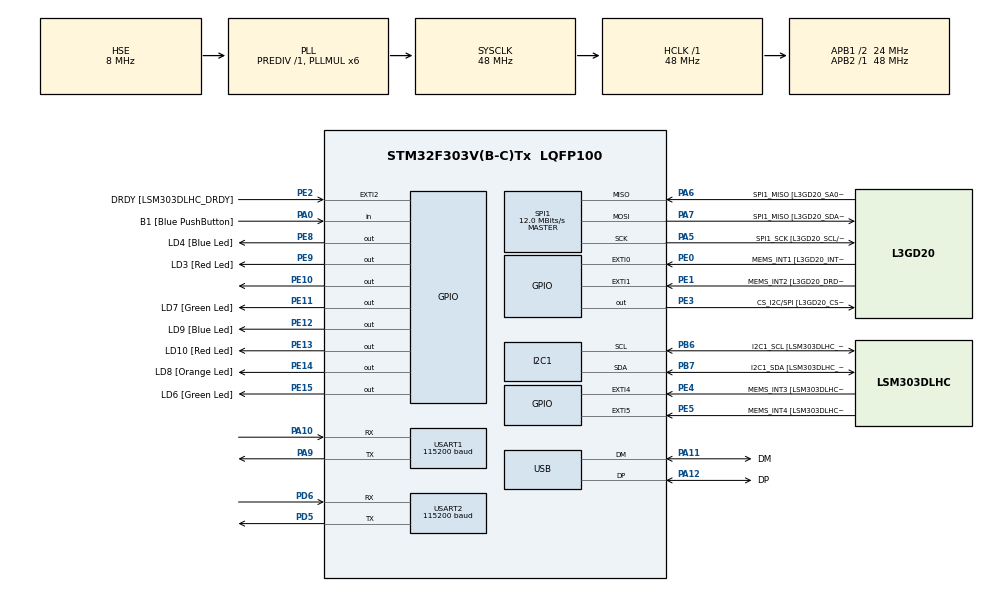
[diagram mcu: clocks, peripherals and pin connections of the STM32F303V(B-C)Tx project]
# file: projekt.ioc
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I2C1.Timing=0x00201D2B
I2C1.Timing-I2C=0x2000090E
Mcu.Family=STM32F3
Mcu.Name=STM32F303V(B-C)Tx
Mcu.Package=LQFP100
NVIC.PriorityGroup=NVIC_PRIORITYGROUP_0
NVIC.TIM2_IRQn=true\:0\:0\:false\:false\:true\:true\:true\:true
PA0.GPIO_Label=B1 [Blue PushButton]
PA0.Signal=GPIO_Input
PA10.Mode=Asynchronous
PA10.Signal=USART1_RX
PA11.GPIO_Label=DM
PA11.Mode=Device
PA11.Signal=USB_DM
PA12.GPIO_Label=DP
PA12.Mode=Device
PA12.Signal=USB_DP
PA13.GPIO_Label=SWDIO
PA13.Mode=Serial_Wire
PA13.Signal=SYS_JTMS-SWDIO
PA14.GPIO_Label=SWCLK
PA14.Mode=Serial_Wire
PA14.Signal=SYS_JTCK-SWCLK
PA5.GPIO_Label=SPI1_SCK [L3GD20_SCL/SPC]
PA5.Mode=Full_Duplex_Master
PA5.Signal=SPI1_SCK
PA6.GPIO_Label=SPI1_MISO [L3GD20_SA0/SDO]
PA6.Mode=Full_Duplex_Master
PA6.Signal=SPI1_MISO
PA7.GPIO_Label=SPI1_MISO [L3GD20_SDA/SDI/SDO]
PA7.Mode=Full_Duplex_Master
PA7.Signal=SPI1_MOSI
PA9.Mode=Asynchronous
PA9.Signal=USART1_TX
PB3.GPIO_Label=SWO
PB3.Signal=SYS_JTDO-TRACESWO
PB6.GPIO_Label=I2C1_SCL [LSM303DLHC_SCL]
PB6.GPIO_Pu=GPIO_PULLUP
PB6.Mode=I2C
PB6.Signal=I2C1_SCL
PB7.GPIO_Label=I2C1_SDA [LSM303DLHC_SDA]
PB7.GPIO_Pu=GPIO_PULLUP
PB7.Mode=I2C
PB7.Signal=I2C1_SDA
PC14-OSC32_IN.GPIO_Label=OSC32_IN
PC14-OSC32_IN.Signal=RCC_OSC32_IN
PC15-OSC32_OUT.GPIO_Label=OSC32_OUT
PC15-OSC32_OUT.Signal=RCC_OSC32_OUT
PD5.Mode=Asynchronous
PD5.Signal=USART2_TX
PD6.Mode=Asynchronous
PD6.Signal=USART2_RX
PE0.GPIO_Label=MEMS_INT1 [L3GD20_INT1]
PE0.GPIO_ModeDefaultEXTI=GPIO_MODE_EVT_RISING
PE0.Signal=GPXTI0
PE1.GPIO_Label=MEMS_INT2 [L3GD20_DRDY/INT2]
PE1.GPIO_ModeDefaultEXTI=GPIO_MODE_EVT_RISING
PE1.Signal=GPXTI1
PE10.Signal=GPIO_Output
PE11.GPIO_Label=LD7 [Green Led]
PE11.Signal=GPIO_Output
PE12.GPIO_Label=LD9 [Blue Led]
PE12.Signal=GPIO_Output
PE13.GPIO_Label=LD10 [Red Led]
PE13.Signal=GPIO_Output
PE14.GPIO_Label=LD8 [Orange Led]
PE14.Signal=GPIO_Output
PE15.GPIO_Label=LD6 [Green Led]
PE15.Signal=GPIO_Output
PE2.GPIO_Label=DRDY [LSM303DLHC_DRDY]
PE2.GPIO_ModeDefaultEXTI=GPIO_MODE_EVT_RISING
PE2.Signal=GPXTI2
PE3.GPIO_Label=CS_I2C/SPI [L3GD20_CS_I2C/SPI]
PE3.Signal=GPIO_Output
PE4.GPIO_Label=MEMS_INT3 [LSM303DLHC_INT1]
PE4.GPIO_ModeDefaultEXTI=GPIO_MODE_EVT_RISING
PE4.Signal=GPXTI4
PE5.GPIO_Label=MEMS_INT4 [LSM303DLHC_INT2]
PE5.GPIO_ModeDefaultEXTI=GPIO_MODE_EVT_RISING
PE5.Signal=GPXTI5
PE8.GPIO_Label=LD4 [Blue Led]
PE8.Signal=GPIO_Output
PE9.GPIO_Label=LD3 [Red Led]
PE9.Signal=GPIO_Output
PF0-OSC_IN.GPIO_Label=OSC_IN
PF0-OSC_IN.Mode=HSE-External-Clock-Source
PF0-OSC_IN.Signal=RCC_OSC_IN
PF1-OSC_OUT.GPIO_Label=OSC_OUT
PF1-OSC_OUT.Signal=RCC_OSC_OUT
ProjectManager.HeapSize=0x200
ProjectManager.StackSize=0x400
ProjectManager.TargetToolchain=STM32CubeIDE
RCC.AHBFreq_Value=48000000
RCC.APB1CLKDivider=RCC_HCLK_DIV2
RCC.APB1Freq_Value=24000000
RCC.APB1TimFreq_Value=48000000
RCC.APB2Freq_Value=48000000
RCC.APB2TimFreq_Value=48000000
RCC.CortexFreq_Value=48000000
RCC.HCLKFreq_Value=48000000
RCC.HSE_VALUE=8000000
RCC.HSI_VALUE=8000000
RCC.LSE_VALUE=32768
RCC.PLLMUL=RCC_PLL_MUL6
RCC.SYSCLKFreq_VALUE=48000000
RCC.SYSCLKSourceVirtual=RCC_SYSCLKSOURCE_PLLCLK
RCC.USBFreq_Value=48000000
SPI1.BaudRatePrescaler=SPI_BAUDRATEPRESCALER_4
SPI1.BaudRatePrescaler-Full_Duplex_Master=SPI_BAUDRATEPRESCALER_2
SPI1.CalculateBaudRate=12.0 MBits/s
SPI1.CalculateBaudRate-Full_Duplex_Master=24.0 MBits/s
SPI1.Direction=SPI_DIRECTION_2LINES
SPI1.Mode=SPI_MODE_MASTER
SPI1.Mode-Full_Duplex_Master=SPI_MODE_MASTER
SPI1.VirtualType=VM_MASTER
TIM2.AutoReloadPreload=TIM_AUTORELOAD_PRELOAD_ENABLE
TIM2.Period=9
TIM2.Prescaler=47999
USART1.BaudRate=115200
USART1.VirtualMode-Asynchronous=VM_ASYNC
USART2.BaudRate=115200
USART2.VirtualMode-Asynchronous=VM_ASYNC
VP_TIM2_VS_ClockSourceINT.Mode=Internal
board=STM32F3DISCOVERY

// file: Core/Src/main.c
/* USER CODE BEGIN Header */
/**
  ******************************************************************************
  * @file           : main.c
  * @brief          : Main program body with MQTT support
  ******************************************************************************
  */
/* USER CODE END Header */
#include "main.h"

/* USER CODE BEGIN PD */
#define ESP_UART huart1
#define ENABLE_USER_LOG 1
#define DISABLE_USER_LOG 0
#define ESP_RX_BUFFER_SIZE 512
#define MQTT_PACKET_SIZE 256

#if ENABLE_USER_LOG
#define USER_LOG(fmt, ...) printf("[USER] " fmt "\r\n", ##__VA_ARGS__)
#else
#define USER_LOG(fmt, ...)
#endif

#define LSM303DLHC_ACC_ADDR     (0x19 << 1)
#define LSM303_CTRL_REG1_A      0x20
#define LSM303_CTRL_REG4_A      0x23
#define LSM303_OUT_X_L_A        0x28
/* USER CODE END PD */

/* USER CODE BEGIN PM */
#if ENABLE_USER_LOG
#define DEBUG_LOG(fmt, ...) printf(fmt "\r\n", ##__VA_ARGS__)
#else
#define DEBUG_LOG(fmt, ...)
#endif

/* USER CODE END PM */

I2C_HandleTypeDef hi2c1;

SPI_HandleTypeDef hspi1;

TIM_HandleTypeDef htim2;

UART_HandleTypeDef huart1;
UART_HandleTypeDef huart2;

PCD_HandleTypeDef hpcd_USB_FS;

/* USER CODE BEGIN PV */
char esp_rx_buffer[ESP_RX_BUFFER_SIZE];
uint8_t mqtt_packet[MQTT_PACKET_SIZE];

volatile uint32_t step_count = 0;
float filtered_accel = 0;
float prev_filtered_accel = 0;
uint8_t step_detected = 0;
uint32_t last_step_time = 0;
/* USER CODE END PV */

void SystemClock_Config(void);
static void MX_GPIO_Init(void);
static void MX_I2C1_Init(void);
static void MX_SPI1_Init(void);
static void MX_USB_PCD_Init(void);
static void MX_USART1_UART_Init(void);
static void MX_USART2_UART_Init(void);
static void MX_TIM2_Init(void);

/* USER CODE BEGIN 0 */
static int ESP_SendCommand(const char* command, const char* ack, uint32_t timeout)
{
    uint8_t ch = 0;
    uint16_t idx = 0;
    uint32_t tickstart;
    int found = 0;

    memset(esp_rx_buffer, 0, sizeof(esp_rx_buffer));
    tickstart = HAL_GetTick();

    if (strlen(command) > 0)
    {
        DEBUG_LOG("Sending: %s", command);
        if (HAL_UART_Transmit(&huart1, (uint8_t*)command, strlen(command), HAL_MAX_DELAY) != HAL_OK)
        {
            DEBUG_LOG("Transmission failed");
            return 0;
        }
    }

    while((HAL_GetTick() - tickstart) < timeout && idx < sizeof(esp_rx_buffer) - 1)
    {
        if(HAL_UART_Receive(&huart1, &ch, 1, 10) == HAL_OK)
        {
            esp_rx_buffer[idx++] = ch;
            esp_rx_buffer[idx] = '\0';

            // Check for acknowledgment
            if (!found && strstr(esp_rx_buffer, ack))
            {
                DEBUG_LOG("Matched ACK: %s", ack);
                found = 1;
            }

            // Handle busy response
            if(strstr(esp_rx_buffer, "busy"))
            {
                DEBUG_LOG("ESP is busy, waiting...");
                HAL_Delay(1500);
                idx = 0;
                memset(esp_rx_buffer, 0, sizeof(esp_rx_buffer));
                tickstart = HAL_GetTick(); // Reset timeout
                continue;
            }
        }
    }

    if (found)
    {
        DEBUG_LOG("Response: %s", esp_rx_buffer);
    }
    else
    {
        DEBUG_LOG("Timeout or ACK not received");
    }

    return found;
}

static int ESP_SendBinary(const uint8_t* data, uint16_t len, const char* ack, uint32_t timeout)
{
    uint8_t ch = 0;
    uint16_t idx = 0;
    uint32_t tickstart;
    int found = 0;

    memset(esp_rx_buffer, 0, sizeof(esp_rx_buffer));
    tickstart = HAL_GetTick();

    // Send binary data
    if (HAL_UART_Transmit(&huart1, (uint8_t*)data, len, HAL_MAX_DELAY) != HAL_OK)
    {
        DEBUG_LOG("Binary transmission failed");
        return 0;
    }

    // Wait for acknowledgment
    while((HAL_GetTick() - tickstart) < timeout && idx < sizeof(esp_rx_buffer) - 1)
    {
        if(HAL_UART_Receive(&huart1, &ch, 1, 10) == HAL_OK)
        {
            esp_rx_buffer[idx++] = ch;
            esp_rx_buffer[idx] = '\0';

            // Check for binary acknowledgment (CONNACK starts with 0x20)
            if (!found && (strchr(esp_rx_buffer, ack[0]) != NULL))
            {
                DEBUG_LOG("Binary ACK received");
                found = 1;
            }

            if(strstr(esp_rx_buffer, "SEND OK"))
            {
                DEBUG_LOG("SEND OK received");
                if (found) break;
            }
        }
    }

    return found;
}

static int MQTT_BuildConnect(uint8_t *packet, const char *clientID, const char *username, const char *password, uint16_t keepalive)
{
    int len = 0;
    /* Fixed Header */
    packet[len++] = 0x10;   // CONNECT packet type
    int remLenPos = len++;  // Remaining length placeholder

    /* Variable Header */
    packet[len++] = 0x00; packet[len++] = 0x04;
    packet[len++] = 'M'; packet[len++] = 'Q'; packet[len++] = 'T'; packet[len++] = 'T';
    packet[len++] = 0x04;   // Protocol Level = 4 (MQTT 3.1.1)

    uint8_t connectFlags = 0x02; // Clean Session
    if (username) connectFlags |= 0x80;
    if (password) connectFlags |= 0x40;
    packet[len++] = connectFlags;

    // Keep Alive
    packet[len++] = (keepalive >> 8) & 0xFF;
    packet[len++] = (keepalive & 0xFF);

    /* Payload */
    // Client ID
    uint16_t cid_len = strlen(clientID);
    packet[len++] = cid_len >> 8;
    packet[len++] = cid_len & 0xFF;
    memcpy(&packet[len], clientID, cid_len); len += cid_len;

    // Username
    if (username) {
        uint16_t ulen = strlen(username);
        packet[len++] = ulen >> 8;
        packet[len++] = ulen & 0xFF;
        memcpy(&packet[len], username, ulen); len += ulen;
    }

    // Password
    if (password) {
        uint16_t plen = strlen(password);
        packet[len++] = plen >> 8;
        packet[len++] = plen & 0xFF;
        memcpy(&packet[len], password, plen); len += plen;
    }

    // Remaining length from Fixed Header
    packet[remLenPos] = len - 2;  // remove first 2 bytes of Fixed Header
    return len;
}

static int ESP_MQTT_Connect(const char *broker, uint16_t port, const char *clientID,
                                       const char *username, const char *password, uint16_t keepalive)
{
    char cmd[128];
    int res;
    int len;

    /****** Step 1: TCP connect ******/
    snprintf(cmd, sizeof(cmd), "AT+CIPSTART=\"TCP\",\"%s\",%d\r\n", broker, port);
    res = ESP_SendCommand(cmd, "CONNECT", 5000);
    if (!res){
        DEBUG_LOG("CIPSTART Failed..");
        return 0;
    }

    HAL_Delay(500);

    /****** Step 2: Build MQTT CONNECT packet ******/
    len = MQTT_BuildConnect(mqtt_packet, clientID, username, password, keepalive);

    /****** Step 3: Tell ESP how many bytes to send ******/
    snprintf(cmd, sizeof(cmd), "AT+CIPSEND=%d\r\n", len);
    res = ESP_SendCommand(cmd, ">", 2000);
    if (!res){
        DEBUG_LOG("CIPSEND Failed..");
        return 0;
    }

    /****** Step 4: Send packet and wait for CONNACK ******/
    res = ESP_SendBinary(mqtt_packet, len, "\x20", 5000);
    if (!res){
        DEBUG_LOG("Send Connect Command Failed..");
        USER_LOG("MQTT CONNACK failed.");
        return 0;
    }

    USER_LOG("MQTT CONNACK received, broker accepted connection.");
    return 1;
}

static int MQTT_BuildPublish(uint8_t *packet, const char *topic, const char *message, uint8_t qos)
{
    int len = 0;

    /* Fixed Header */
    packet[len++] = 0x30 | (qos << 1); // PUBLISH, QoS
    int remLenPos = len++;  // will be calculated later

    /* Variable Header */
    // Topic
    uint16_t tlen = strlen(topic);
    packet[len++] = tlen >> 8;  // store topic len
    packet[len++] = tlen & 0xFF;  // store topic len
    memcpy(&packet[len], topic, tlen); len += tlen;  // store topic

    /* Payload */
    // Message
    uint16_t mlen = strlen(message);
    memcpy(&packet[len], message, mlen); len += mlen;  // store message

    // Remaining length
    packet[remLenPos] = len - 2;  // remove first 2 bytes of Fixed Header
    return len;
}

static int ESP_MQTT_Publish(const char *topic, const char *message, uint8_t qos)
{
    char cmd[128];
    int res;
    int len;

    /****** Step 1: Build MQTT PUBLISH packet ******/
    len = MQTT_BuildPublish(mqtt_packet, topic, message, qos);

    /****** Step 2: Tell ESP how many bytes to send  ******/
    snprintf(cmd, sizeof(cmd), "AT+CIPSEND=%d\r\n", len);
    res = ESP_SendCommand(cmd, ">", 2000);
    if (!res){
        DEBUG_LOG("CIPSEND Failed..");
        return 0;
    }

    /****** Step 3: Send packet and wait for ACK ******/
    res = ESP_SendBinary(mqtt_packet, len, "SEND OK", 5000);
    if (!res){
        DEBUG_LOG("Publish Command Failed..");
        return 0;
    }

    USER_LOG("Message published successfully to topic: %s", topic);
    return 1;
}

int HTTP_ConfigureUrl(const char *url) {
    char at_cmd[64];
    uint16_t url_len = strlen(url);
    int res;

    // Step 1: Send the length and wait for the '>' prompt
    snprintf(at_cmd, sizeof(at_cmd), "AT+HTTPURLCFG=%d\r\n", url_len);
    res = ESP_SendCommand(at_cmd, ">", 2000);
    if (!res) {
        DEBUG_LOG("URL length config Failed (no prompt)");
        return 0;
    }

    // Step 2: Send the actual URL data (no \r\n at the end of the raw data)
    if (HAL_UART_Transmit(&huart1, (uint8_t*)url, url_len, HAL_MAX_DELAY) != HAL_OK) {
        DEBUG_LOG("URL transmit Failed");
        return 0;
    }

    // Step 3: Wait for "OK" (Note: some firmware versions return "SET OK", some just "OK")
    res = ESP_SendCommand("", "OK", 3000);
    if (!res) {
        DEBUG_LOG("URL data confirmation Failed");
        return 0;
    }

    USER_LOG("URL Configured Successfully!");
    return 1;
}

static int ESP_MQTT_Connect_TLS(const char *broker, uint16_t port,
                                 const char *clientID,
                                 const char *username,
                                 const char *password)
{
    char cmd[256];
    int res;

    USER_LOG("=== Starting MQTT TLS Connection ===");

    // ONLY STEP 1: Configure everything in one command
    USER_LOG("Configuring MQTT...");
    snprintf(cmd, sizeof(cmd),
             "AT+MQTTUSERCFG=0,2,\"%s\",\"%s\",\"%s\",0,0,\"\"\r\n",
             clientID, username, password);
    res = ESP_SendCommand(cmd, "OK", 3000);
    if (!res) {
        USER_LOG("MQTTUSERCFG Failed!");
        return 0;
    }
    USER_LOG("Configuration OK");
    HAL_Delay(200);

    USER_LOG("Connecting to broker...");
    snprintf(cmd, sizeof(cmd),
             "AT+MQTTCONN=0,\"%s\",%d,1\r\n",
             broker, port);
    res = ESP_SendCommand(cmd, "OK", 15000);
    if (!res) {
        USER_LOG("MQTTCONN Failed!");
        return 0;
    }
    HAL_GPIO_WritePin(GPIOE, LD6_Pin, GPIO_PIN_SET);

    USER_LOG("MQTT TLS Connected!");
    return 1;
}

static int ESP_MQTT_Publish_AT(const char *topic, const char *message, uint8_t qos) {
	char cmd[256];
	USER_LOG("Publishing to: %s", topic);
	snprintf(cmd, sizeof(cmd), "AT+MQTTPUB=0,\"%s\",\"%s\",%d,0\r\n", topic, message, qos);
	if (!ESP_SendCommand(cmd, "OK", 5000)) {
		USER_LOG("Publish failed!");
		return 0;
	}
	USER_LOG("Published successfully!");
	return 1;
}

static int LSM303_Init(void)
{
    uint8_t data[2];
    HAL_StatusTypeDef status;

    // CTRL_REG1_A: 100Hz data rate, all axes enabled
    data[0] = LSM303_CTRL_REG1_A;
    data[1] = 0x57;  // 100Hz, normal mode, XYZ enabled
    status = HAL_I2C_Master_Transmit(&hi2c1, LSM303DLHC_ACC_ADDR, data, 2, 100);
    if (status != HAL_OK) {
        USER_LOG("LSM303 CTRL_REG1 write failed");
        return 0;
    }

    // CTRL_REG4_A: +/- 2g full scale, high resolution
    data[0] = LSM303_CTRL_REG4_A;
    data[1] = 0x08;  // +/- 2g, high resolution
    status = HAL_I2C_Master_Transmit(&hi2c1, LSM303DLHC_ACC_ADDR, data, 2, 100);
    if (status != HAL_OK) {
        USER_LOG("LSM303 CTRL_REG4 write failed");
        return 0;
    }

    USER_LOG("LSM303 Accelerometer initialized");
    return 1;
}

static int LSM303_ReadAccel(int16_t *x, int16_t *y, int16_t *z)
{
    uint8_t reg = LSM303_OUT_X_L_A | 0x80;  // Auto-increment
    uint8_t buffer[6];

    if (HAL_I2C_Master_Transmit(&hi2c1, LSM303DLHC_ACC_ADDR, &reg, 1, 100) != HAL_OK) {
        return 0;
    }

    if (HAL_I2C_Master_Receive(&hi2c1, LSM303DLHC_ACC_ADDR, buffer, 6, 100) != HAL_OK) {
        return 0;
    }

    // Combine bytes (12-bit left-justified, so shift right by 4)
    *x = (int16_t)((buffer[1] << 8) | buffer[0]) >> 4;
    *y = (int16_t)((buffer[3] << 8) | buffer[2]) >> 4;
    *z = (int16_t)((buffer[5] << 8) | buffer[4]) >> 4;

    return 1;
}

static void StepCounter_Update(void)
{
    int16_t ax, ay, az;
    float magnitude;
    uint32_t current_time;

    if (!LSM303_ReadAccel(&ax, &ay, &az)) {
        // Blink LD4 if read fails
        HAL_GPIO_TogglePin(GPIOE, LD4_Pin);
        return;
    }

    //
    HAL_GPIO_TogglePin(GPIOE, LD7_Pin);
    // Calculate acceleration magnitude
    magnitude = sqrt((float)(ax*ax + ay*ay + az*az));

    // Low-pass filter to smooth the signal
    filtered_accel = 0.8f * filtered_accel + 0.2f * magnitude;

    current_time = HAL_GetTick();

    // Peak detection for step counting
    // Threshold and timing to avoid double-counting
    if (filtered_accel > 1200.0f &&                          // Above threshold
        prev_filtered_accel <= 1200.0f &&                    // Rising edge
        (current_time - last_step_time) > 250)            // Min 250ms between steps
    {
        step_count++;
        last_step_time = current_time;
        USER_LOG("Step detected! Count: %lu", step_count);

        HAL_GPIO_TogglePin(GPIOE, LD3_Pin);
    }

    prev_filtered_accel = filtered_accel;
}

void HAL_TIM_PeriodElapsedCallback(TIM_HandleTypeDef *htim)
{
    if (htim->Instance == TIM2) {
        StepCounter_Update();
    }
}

/* USER CODE END 0 */

int main(void)
{

  /* MCU Configuration--------------------------------------------------------*/

  /* Reset of all peripherals, Initializes the Flash interface and the Systick. */
  HAL_Init();

  /* Configure the system clock */
  SystemClock_Config();

  /* Initialize all configured peripherals */
  MX_GPIO_Init();
  MX_I2C1_Init();
  MX_SPI1_Init();
  MX_USB_PCD_Init();
  MX_USART1_UART_Init();
  MX_USART2_UART_Init();
  MX_TIM2_Init();
  /* USER CODE BEGIN 2 */
  HAL_Delay(1000); // Wait for ESP to be ready
  ESP_SendCommand("ATE0\r\n", "OK", 2000);
  ESP_SendCommand("AT+MQTTCLEAN=0\r\n", "OK", 1000);
  HAL_Delay(500);
  LSM303_Init();
  HAL_Delay(100);
  HAL_TIM_Base_Start_IT(&htim2);
  /* USER CODE END 2 */

  /* Infinite loop */
  while (1)
    {

    /* USER CODE BEGIN 3 */
	    StepCounter_Update();
	    HAL_Delay(10);

	    static uint32_t last_network_check = 0;

	    // in this code i prepared MQTT over TLS, this is secure, we have username and password, i also have functions for MQTT over tcp - less safe
        if (ESP_SendCommand("AT\r\n", "OK", 2000))
        {
            HAL_GPIO_WritePin(GPIOE, GPIO_PIN_10, GPIO_PIN_SET);

            // Connect to WiFi
            if (ESP_SendCommand("AT+CWJAP=\"Wifi_name\",\"Password\"\r\n", "OK", 15000))
            {
                // WiFi connected successfully
                HAL_GPIO_WritePin(GPIOE, GPIO_PIN_14, GPIO_PIN_SET);
                DEBUG_LOG("WiFi connected successfully!");

                if(ESP_MQTT_Connect_TLS("Mqtt link",
                                        8883,
                                        "clientId", // change this with massheslth_clientid
                                        "username", // enter username for mqtt connection
                                        "password")) // enter password for mqtt connection, if u have this character " in password use \\\"
                {
                    //HAL_GPIO_WritePin(GPIOE, LD6_Pin, GPIO_PIN_SET);

                }

                char step_msg[32];
                snprintf(step_msg, sizeof(step_msg), "%lu", step_count);

                if(ESP_MQTT_Publish_AT("sensor/steps", step_msg, 0)){
                    USER_LOG("Published steps: %lu", step_count);
                }

            }
            else
            {
                // WiFi connection failed
                HAL_GPIO_WritePin(GPIOE, GPIO_PIN_14, GPIO_PIN_RESET);
                DEBUG_LOG("WiFi connection failed!");
            }
        }
        else
        {
            HAL_GPIO_WritePin(GPIOE, GPIO_PIN_10, GPIO_PIN_RESET);
            DEBUG_LOG("ESP not responding");
        }

        HAL_Delay(5000);
    }

  /* USER CODE END 3 */
}

void SystemClock_Config(void)
{
  RCC_OscInitTypeDef RCC_OscInitStruct = {0};
  RCC_ClkInitTypeDef RCC_ClkInitStruct = {0};
  RCC_PeriphCLKInitTypeDef PeriphClkInit = {0};

  /** Initializes the RCC Oscillators according to the specified parameters
  * in the RCC_OscInitTypeDef structure.
  */
  RCC_OscInitStruct.OscillatorType = RCC_OSCILLATORTYPE_HSI|RCC_OSCILLATORTYPE_HSE;
  RCC_OscInitStruct.HSEState = RCC_HSE_BYPASS;
  RCC_OscInitStruct.HSEPredivValue = RCC_HSE_PREDIV_DIV1;
  RCC_OscInitStruct.HSIState = RCC_HSI_ON;
  RCC_OscInitStruct.HSICalibrationValue = RCC_HSICALIBRATION_DEFAULT;
  RCC_OscInitStruct.PLL.PLLState = RCC_PLL_ON;
  RCC_OscInitStruct.PLL.PLLSource = RCC_PLLSOURCE_HSE;
  RCC_OscInitStruct.PLL.PLLMUL = RCC_PLL_MUL6;
  if (HAL_RCC_OscConfig(&RCC_OscInitStruct) != HAL_OK)
  {
    Error_Handler();
  }

  /** Initializes the CPU, AHB and APB buses clocks
  */
  RCC_ClkInitStruct.ClockType = RCC_CLOCKTYPE_HCLK|RCC_CLOCKTYPE_SYSCLK
                              |RCC_CLOCKTYPE_PCLK1|RCC_CLOCKTYPE_PCLK2;
  RCC_ClkInitStruct.SYSCLKSource = RCC_SYSCLKSOURCE_PLLCLK;
  RCC_ClkInitStruct.AHBCLKDivider = RCC_SYSCLK_DIV1;
  RCC_ClkInitStruct.APB1CLKDivider = RCC_HCLK_DIV2;
  RCC_ClkInitStruct.APB2CLKDivider = RCC_HCLK_DIV1;

  if (HAL_RCC_ClockConfig(&RCC_ClkInitStruct, FLASH_LATENCY_1) != HAL_OK)
  {
    Error_Handler();
  }
  PeriphClkInit.PeriphClockSelection = RCC_PERIPHCLK_USB|RCC_PERIPHCLK_USART1
                              |RCC_PERIPHCLK_USART2|RCC_PERIPHCLK_I2C1;
  PeriphClkInit.Usart1ClockSelection = RCC_USART1CLKSOURCE_PCLK2;
  PeriphClkInit.Usart2ClockSelection = RCC_USART2CLKSOURCE_PCLK1;
  PeriphClkInit.I2c1ClockSelection = RCC_I2C1CLKSOURCE_HSI;
  PeriphClkInit.USBClockSelection = RCC_USBCLKSOURCE_PLL;
  if (HAL_RCCEx_PeriphCLKConfig(&PeriphClkInit) != HAL_OK)
  {
    Error_Handler();
  }
}

static void MX_I2C1_Init(void)
{

  hi2c1.Instance = I2C1;
  hi2c1.Init.Timing = 0x00201D2B;
  hi2c1.Init.OwnAddress1 = 0;
  hi2c1.Init.AddressingMode = I2C_ADDRESSINGMODE_7BIT;
  hi2c1.Init.DualAddressMode = I2C_DUALADDRESS_DISABLE;
  hi2c1.Init.OwnAddress2 = 0;
  hi2c1.Init.OwnAddress2Masks = I2C_OA2_NOMASK;
  hi2c1.Init.GeneralCallMode = I2C_GENERALCALL_DISABLE;
  hi2c1.Init.NoStretchMode = I2C_NOSTRETCH_DISABLE;
  if (HAL_I2C_Init(&hi2c1) != HAL_OK)
  {
    Error_Handler();
  }

  /** Configure Analogue filter
  */
  if (HAL_I2CEx_ConfigAnalogFilter(&hi2c1, I2C_ANALOGFILTER_ENABLE) != HAL_OK)
  {
    Error_Handler();
  }

  /** Configure Digital filter
  */
  if (HAL_I2CEx_ConfigDigitalFilter(&hi2c1, 0) != HAL_OK)
  {
    Error_Handler();
  }

}

static void MX_SPI1_Init(void)
{

  /* SPI1 parameter configuration*/
  hspi1.Instance = SPI1;
  hspi1.Init.Mode = SPI_MODE_MASTER;
  hspi1.Init.Direction = SPI_DIRECTION_2LINES;
  hspi1.Init.DataSize = SPI_DATASIZE_4BIT;
  hspi1.Init.CLKPolarity = SPI_POLARITY_LOW;
  hspi1.Init.CLKPhase = SPI_PHASE_1EDGE;
  hspi1.Init.NSS = SPI_NSS_SOFT;
  hspi1.Init.BaudRatePrescaler = SPI_BAUDRATEPRESCALER_4;
  hspi1.Init.FirstBit = SPI_FIRSTBIT_MSB;
  hspi1.Init.TIMode = SPI_TIMODE_DISABLE;
  hspi1.Init.CRCCalculation = SPI_CRCCALCULATION_DISABLE;
  hspi1.Init.CRCPolynomial = 7;
  hspi1.Init.CRCLength = SPI_CRC_LENGTH_DATASIZE;
  hspi1.Init.NSSPMode = SPI_NSS_PULSE_ENABLE;
  if (HAL_SPI_Init(&hspi1) != HAL_OK)
  {
    Error_Handler();
  }

}

static void MX_TIM2_Init(void)
{

  TIM_ClockConfigTypeDef sClockSourceConfig = {0};
  TIM_MasterConfigTypeDef sMasterConfig = {0};

  htim2.Instance = TIM2;
  htim2.Init.Prescaler = 47999;
  htim2.Init.CounterMode = TIM_COUNTERMODE_UP;
  htim2.Init.Period = 9;
  htim2.Init.ClockDivision = TIM_CLOCKDIVISION_DIV1;
  htim2.Init.AutoReloadPreload = TIM_AUTORELOAD_PRELOAD_ENABLE;
  if (HAL_TIM_Base_Init(&htim2) != HAL_OK)
  {
    Error_Handler();
  }
  sClockSourceConfig.ClockSource = TIM_CLOCKSOURCE_INTERNAL;
  if (HAL_TIM_ConfigClockSource(&htim2, &sClockSourceConfig) != HAL_OK)
  {
    Error_Handler();
  }
  sMasterConfig.MasterOutputTrigger = TIM_TRGO_RESET;
  sMasterConfig.MasterSlaveMode = TIM_MASTERSLAVEMODE_DISABLE;
  if (HAL_TIMEx_MasterConfigSynchronization(&htim2, &sMasterConfig) != HAL_OK)
  {
    Error_Handler();
  }

}

static void MX_USART1_UART_Init(void)
{

  huart1.Instance = USART1;
  huart1.Init.BaudRate = 115200;
  huart1.Init.WordLength = UART_WORDLENGTH_8B;
  huart1.Init.StopBits = UART_STOPBITS_1;
  huart1.Init.Parity = UART_PARITY_NONE;
  huart1.Init.Mode = UART_MODE_TX_RX;
  huart1.Init.HwFlowCtl = UART_HWCONTROL_NONE;
  huart1.Init.OverSampling = UART_OVERSAMPLING_16;
  huart1.Init.OneBitSampling = UART_ONE_BIT_SAMPLE_DISABLE;
  huart1.AdvancedInit.AdvFeatureInit = UART_ADVFEATURE_NO_INIT;
  if (HAL_UART_Init(&huart1) != HAL_OK)
  {
    Error_Handler();
  }

}

static void MX_USART2_UART_Init(void)
{

  huart2.Instance = USART2;
  huart2.Init.BaudRate = 115200;
  huart2.Init.WordLength = UART_WORDLENGTH_8B;
  huart2.Init.StopBits = UART_STOPBITS_1;
  huart2.Init.Parity = UART_PARITY_NONE;
  huart2.Init.Mode = UART_MODE_TX_RX;
  huart2.Init.HwFlowCtl = UART_HWCONTROL_NONE;
  huart2.Init.OverSampling = UART_OVERSAMPLING_16;
  huart2.Init.OneBitSampling = UART_ONE_BIT_SAMPLE_DISABLE;
  huart2.AdvancedInit.AdvFeatureInit = UART_ADVFEATURE_NO_INIT;
  if (HAL_UART_Init(&huart2) != HAL_OK)
  {
    Error_Handler();
  }

}

static void MX_USB_PCD_Init(void)
{

  hpcd_USB_FS.Instance = USB;
  hpcd_USB_FS.Init.dev_endpoints = 8;
  hpcd_USB_FS.Init.speed = PCD_SPEED_FULL;
  hpcd_USB_FS.Init.phy_itface = PCD_PHY_EMBEDDED;
  hpcd_USB_FS.Init.low_power_enable = DISABLE;
  hpcd_USB_FS.Init.battery_charging_enable = DISABLE;
  if (HAL_PCD_Init(&hpcd_USB_FS) != HAL_OK)
  {
    Error_Handler();
  }

}

static void MX_GPIO_Init(void)
{
  GPIO_InitTypeDef GPIO_InitStruct = {0};

  /* GPIO Ports Clock Enable */
  __HAL_RCC_GPIOE_CLK_ENABLE();
  __HAL_RCC_GPIOC_CLK_ENABLE();
  __HAL_RCC_GPIOF_CLK_ENABLE();
  __HAL_RCC_GPIOA_CLK_ENABLE();
  __HAL_RCC_GPIOD_CLK_ENABLE();
  __HAL_RCC_GPIOB_CLK_ENABLE();

  /*Configure GPIO pin Output Level */
  HAL_GPIO_WritePin(GPIOE, CS_I2C_SPI_Pin|LD4_Pin|LD3_Pin|GPIO_PIN_10
                          |LD7_Pin|LD9_Pin|LD10_Pin|LD8_Pin
                          |LD6_Pin, GPIO_PIN_RESET);

  /*Configure GPIO pins : DRDY_Pin MEMS_INT3_Pin MEMS_INT4_Pin MEMS_INT1_Pin
                           MEMS_INT2_Pin */
  GPIO_InitStruct.Pin = DRDY_Pin|MEMS_INT3_Pin|MEMS_INT4_Pin|MEMS_INT1_Pin
                          |MEMS_INT2_Pin;
  GPIO_InitStruct.Mode = GPIO_MODE_EVT_RISING;
  GPIO_InitStruct.Pull = GPIO_NOPULL;
  HAL_GPIO_Init(GPIOE, &GPIO_InitStruct);

  /*Configure GPIO pins : CS_I2C_SPI_Pin LD4_Pin LD3_Pin PE10
                           LD7_Pin LD9_Pin LD10_Pin LD8_Pin
                           LD6_Pin */
  GPIO_InitStruct.Pin = CS_I2C_SPI_Pin|LD4_Pin|LD3_Pin|GPIO_PIN_10
                          |LD7_Pin|LD9_Pin|LD10_Pin|LD8_Pin
                          |LD6_Pin;
  GPIO_InitStruct.Mode = GPIO_MODE_OUTPUT_PP;
  GPIO_InitStruct.Pull = GPIO_NOPULL;
  GPIO_InitStruct.Speed = GPIO_SPEED_FREQ_LOW;
  HAL_GPIO_Init(GPIOE, &GPIO_InitStruct);

  /*Configure GPIO pin : B1_Pin */
  GPIO_InitStruct.Pin = B1_Pin;
  GPIO_InitStruct.Mode = GPIO_MODE_INPUT;
  GPIO_InitStruct.Pull = GPIO_NOPULL;
  HAL_GPIO_Init(B1_GPIO_Port, &GPIO_InitStruct);

}

void Error_Handler(void)
{
  __disable_irq();
  while (1)
  {
  }
}
